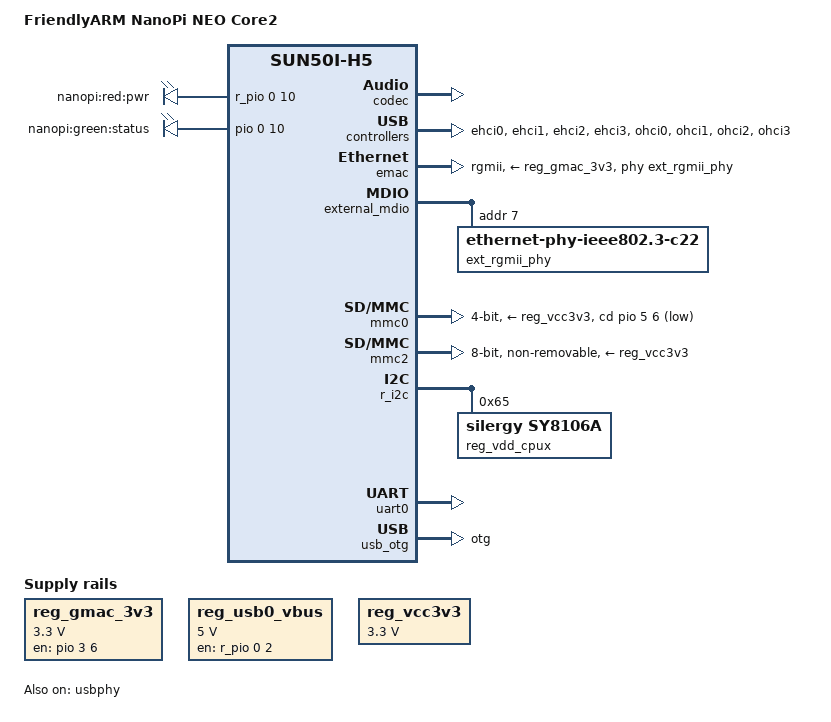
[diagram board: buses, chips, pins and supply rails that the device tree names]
/*
 * Copyright (C) 2017 Chris Blake <chrisrblake93@gmail.com>
 * Copyright (C) 2016 ARM Ltd.
 *
 * This file is dual-licensed: you can use it either under the terms
 * of the GPL or the X11 license, at your option. Note that this dual
 * licensing only applies to this file, and not this project as a
 * whole.
 *
 *  a) This file is free software; you can redistribute it and/or
 *     modify it under the terms of the GNU General Public License as
 *     published by the Free Software Foundation; either version 2 of the
 *     License, or (at your option) any later version.
 *
 *     This file is distributed in the hope that it will be useful,
 *     but WITHOUT ANY WARRANTY; without even the implied warranty of
 *     MERCHANTABILITY or FITNESS FOR A PARTICULAR PURPOSE.  See the
 *     GNU General Public License for more details.
 *
 * Or, alternatively,
 *
 *  b) Permission is hereby granted, free of charge, to any person
 *     obtaining a copy of this software and associated documentation
 *     files (the "Software"), to deal in the Software without
 *     restriction, including without limitation the rights to use,
 *     copy, modify, merge, publish, distribute, sublicense, and/or
 *     sell copies of the Software, and to permit persons to whom the
 *     Software is furnished to do so, subject to the following
 *     conditions:
 *
 *     The above copyright notice and this permission notice shall be
 *     included in all copies or substantial portions of the Software.
 *
 *     THE SOFTWARE IS PROVIDED "AS IS", WITHOUT WARRANTY OF ANY KIND,
 *     EXPRESS OR IMPLIED, INCLUDING BUT NOT LIMITED TO THE WARRANTIES
 *     OF MERCHANTABILITY, FITNESS FOR A PARTICULAR PURPOSE AND
 *     NONINFRINGEMENT. IN NO EVENT SHALL THE AUTHORS OR COPYRIGHT
 *     HOLDERS BE LIABLE FOR ANY CLAIM, DAMAGES OR OTHER LIABILITY,
 *     WHETHER IN AN ACTION OF CONTRACT, TORT OR OTHERWISE, ARISING
 *     FROM, OUT OF OR IN CONNECTION WITH THE SOFTWARE OR THE USE OR
 *     OTHER DEALINGS IN THE SOFTWARE.
 */

/dts-v1/;
#include "sun50i-h5.dtsi"

#include <dt-bindings/gpio/gpio.h>
#include <dt-bindings/input/input.h>
#include <dt-bindings/pinctrl/sun4i-a10.h>

/ {
	model = "FriendlyARM NanoPi NEO Core2";
	compatible = "friendlyarm,nanopi-neo-core2", "allwinner,sun50i-h5";
	serial-number = "0000000000000000";

	aliases {
		ethernet0 = &emac;
		serial0 = &uart0;
	};

	chosen {
		stdout-path = "serial0:115200n8";
	};

	leds {
		compatible = "gpio-leds";
		pwr {
			label = "nanopi:red:pwr";
			gpios = <&r_pio 0 10 GPIO_ACTIVE_HIGH>; /* PL10 */
			default-state = "on";
		};
		status {
			label = "nanopi:green:status";
			gpios = <&pio 0 10 GPIO_ACTIVE_HIGH>; /* PA10 */
		};
	};

	reg_gmac_3v3: gmac-3v3 {
		compatible = "regulator-fixed";
		pinctrl-names = "default";
		regulator-name = "gmac-3v3";
		regulator-min-microvolt = <3300000>;
		regulator-max-microvolt = <3300000>;
		startup-delay-us = <100000>;
		enable-active-high;
		gpio = <&pio 3 6 GPIO_ACTIVE_HIGH>; /* PD6 */
	};

	reg_usb0_vbus: usb0-vbus {
		compatible = "regulator-fixed";
		regulator-name = "usb0-vbus";
		regulator-min-microvolt = <5000000>;
		regulator-max-microvolt = <5000000>;
		enable-active-high;
		gpio = <&r_pio 0 2 GPIO_ACTIVE_HIGH>; /* PL2 */
		status = "okay";
	};

	reg_vcc3v3: vcc3v3 {
		compatible = "regulator-fixed";
		regulator-name = "vcc3v3";
		regulator-min-microvolt = <3300000>;
		regulator-max-microvolt = <3300000>;
	};
};

&codec {
	allwinner,audio-routing =
		"Line Out", "LINEOUT",
		"MIC1", "Mic",
		"Mic",  "MBIAS";
	status = "okay";
};

&cpu0 {
	cpu0-supply = <&reg_vdd_cpux>;
};

&ehci0 {
	status = "okay";
};

&ehci1 {
	status = "okay";
};

&ehci2 {
	status = "okay";
};

&ehci3 {
	status = "okay";
};

&emac {
	pinctrl-names = "default";
	pinctrl-0 = <&emac_rgmii_pins>;
	phy-supply = <&reg_gmac_3v3>;
	phy-handle = <&ext_rgmii_phy>;
	phy-mode = "rgmii";
	allwinner,leds-active-low;
	status = "okay";
};

&external_mdio {
	ext_rgmii_phy: ethernet-phy@7 {
		compatible = "ethernet-phy-ieee802.3-c22";
		reg = <7>;
	};
};

&mmc0 {
	vmmc-supply = <&reg_vcc3v3>;
	bus-width = <4>;
	cd-gpios = <&pio 5 6 GPIO_ACTIVE_LOW>; /* PF6 */
	status = "okay";
};

&mmc2 {
	pinctrl-names = "default";
	pinctrl-0 = <&mmc2_8bit_pins>;
	vmmc-supply = <&reg_vcc3v3>;
	bus-width = <8>;
	non-removable;
	cap-mmc-hw-reset;
	status = "okay";
};

&mmc2_8bit_pins {
	drive-strength = <40>;
  bias-pull-up;
};

&ohci0 {
	status = "okay";
};

&ohci1 {
	status = "okay";
};

&ohci2 {
	status = "okay";
};

&ohci3 {
	status = "okay";
};

&r_i2c {
	status = "okay";

	reg_vdd_cpux: regulator@65 {
		compatible = "silergy,sy8106a";
		reg = <0x65>;
		regulator-name = "vdd-cpux";
		silergy,fixed-microvolt = <1200000>;
		regulator-min-microvolt = <940000>;
		regulator-max-microvolt = <1400000>;
		regulator-ramp-delay = <200>;
		regulator-boot-on;
		regulator-always-on;
	};
};

&uart0 {
	pinctrl-names = "default";
	pinctrl-0 = <&uart0_pins_a>;
	status = "okay";
};

&usb_otg {
	dr_mode = "otg";
	status = "okay";
};

&usbphy {
	/* USB Type-A port's VBUS is always on */
	usb0_id_det-gpios = <&pio 6 12 GPIO_ACTIVE_HIGH>; /* PG12 */
	usb0_vbus-supply = <&reg_usb0_vbus>;
	status = "okay";
};
